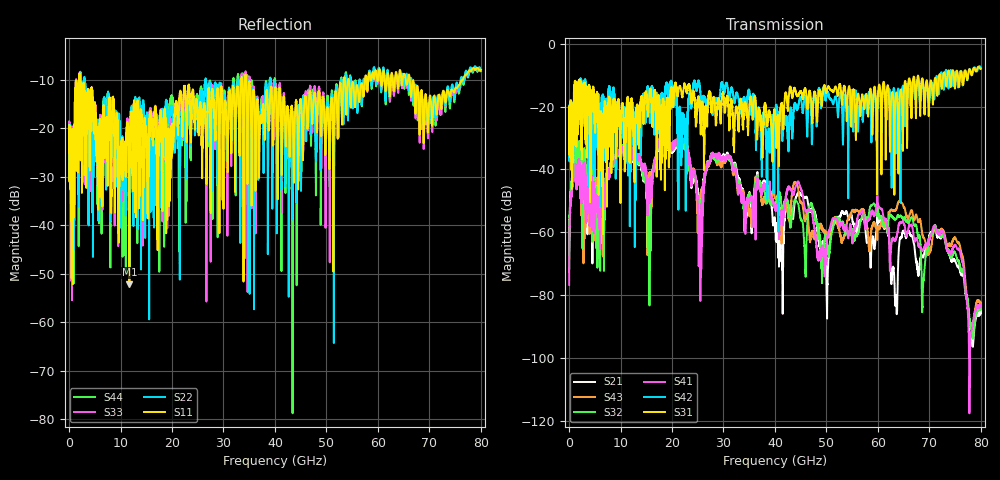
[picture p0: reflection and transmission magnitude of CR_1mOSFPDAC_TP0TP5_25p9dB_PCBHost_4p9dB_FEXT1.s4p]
!! Reference: shanbhag_3dj_01_2305.pdf
!! CHANNEL DESCRIPTION: TP0_TP5 CR Channel using 1meter DAC, PCB Host
!! MODEL DESCRIPTION: s4p, FEXT1
!! CONNECTOR DESCRIPTION: OSFP 200G SMT
!! CABLE DESCRIPTION: 1meter 26AWG Cable
!! MODEL STATUS: Developmental
!! PORT DEFINITIONS:
!! Port  1  ----->  Side A  Side B  <-----  Port  2
!! Port  3  ----->  Side A  Side B  <-----  Port  4
# HZ S MA R 50.000000
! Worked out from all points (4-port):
!   8000 points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, 10 MHz to 80 GHz, reference 50 ohm
!   strongest paths, dB at 10 MHz, 20.01 GHz, 40.01 GHz, 60.01 GHz, 80 GHz:
!     S31: -27.8, -14.4, -22.6, -16.3, -8.0
!     S42: -27.8, -12.9, -22.8, -16.3, -7.6
!     S41: -76.8, -33.5, -52.0, -51.1, -83.8
!     S32: -67.7, -33.9, -51.2, -53.3, -84.4
!     S43: -72.8, -33.8, -49.0, -59.1, -83.1
!     S21: -65.8, -34.6, -56.2, -56.9, -85.9
!   lowest |S11| = -52.2 dB at 11.71 GHz (marker M1), VSWR 1.00, Z = 50 - j0.241 ohm
!   |S11| at or under -10 dB: 2.171 GHz to 33.43 GHz (31.26 GHz wide, 176 % of centre); 34.4 GHz to 53.37 GHz (18.97 GHz wide, 43.2 % of centre); 66.19 GHz to 76.5 GHz (10.31 GHz wide, 14.4 % of centre) (the widest 3 of 19)
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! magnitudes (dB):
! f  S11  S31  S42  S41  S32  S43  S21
! 10 MHz  -25.0  -27.8  -27.8  -76.8  -67.7  -72.8  -65.8
! 1.11 GHz  -15.4  -12.2  -17.2  -38.0  -33.5  -35.1  -35.3
! 11.71 GHz  -52.2  -37.6  -40.0  -35.9  -36.5  -35.7  -36.8
! 25.48 GHz  -16.0  -24.4  -15.2  -57.4  -56.8  -48.4  -55.5
! 28.15 GHz  -15.6  -17.6  -19.4  -35.6  -36.3  -35.3  -36.2
! 64.37 GHz  -8.2  -15.1  -50.4  -56.7  -54.7  -50.4  -61.8
! 80 GHz  -7.9  -8.0  -7.6  -83.8  -84.4  -83.1  -85.9
